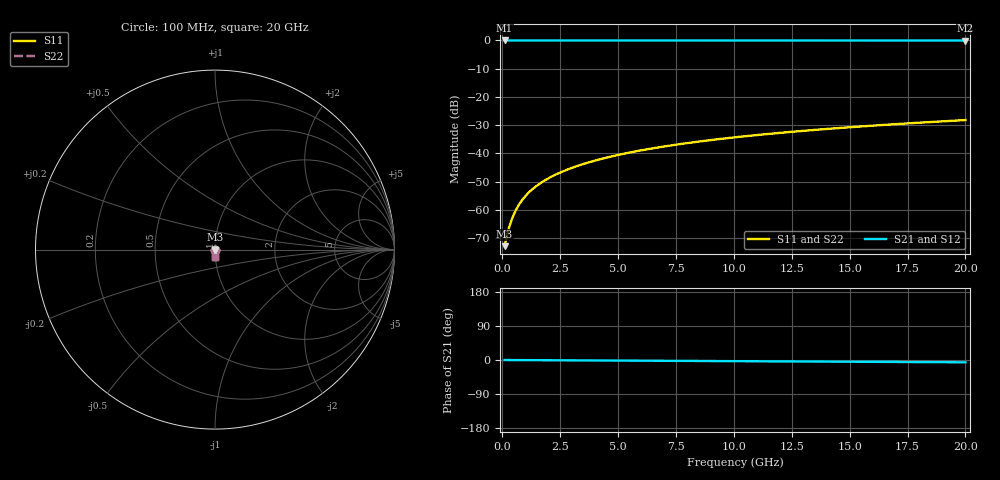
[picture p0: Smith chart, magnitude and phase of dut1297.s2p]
! Touchstone file exported from HFSS 2026.1.0
!  File:  C:/ffzhzh/LocalFiles/Ansys_Project_Files/temp_train_TSV_1297_1783194642_22436.aedt
!  Generated:  03:52:03 AM Jul  5, 2026
!  Design:  TSV
!  Project:  temp_train_TSV_1297_1783194642_22436
! Variables:
!  h_bsmrdl = 2um
!  h_ox = 20um
!  h_rdl = 5um
!  h_sub = 59.59um
!  h_tmrdl = 5um
!  h_tsv = 59.59um
!  h_via = 3um
!  l_bsmrdl = 300um
!  l_sub = 414.46um
!  l_tmrdl = 200um
!  m_sub = 200um
!  pitch = 20.92um
!  r_tsv = 7.23um
!  s_tmrdl = 10um
!  w_bsmrdl = 18um
!  w_sub = 500um
!  w_tmrdl = 12um
!  x_tsv_center1 = 206um
!  x_tsv_center2 = 524um
!  x_tsv_center3 = 736um
!  x_tsv_center4 = 1054um
!  x_tsv_center5 = 1266um
!  x_tsv_center6 = 1584um
# GHz S MA R 50.000000
! Terminal data exported
! Port[1] = TSV1_1_T1
! Port[2] = TSV1_1_T2
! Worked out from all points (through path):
!   200 points, 100 MHz to 20 GHz, reference 50 ohm
!   highest |S21| = 0.00 dB at 100 MHz (marker M1); lowest = 0.0 dB at 20 GHz (marker M2)
!   lowest |S11| = -72.8 dB at 100 MHz (marker M3), VSWR 1.00, Z = 50 - j0.0143 ohm
!   |S11| at or under -10 dB: start of sweep to end of sweep
!   |S22| runs from -72.8 to -28.2 dB; largest |S21 - S12| = 4.2e-15
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0.1  0.0002285 -38.6  0.9998 -0.0  0.9998 -0.0  0.0002285 -38.6
! Gamma 0 0 0 0
! Port Impedance 50 0 50 0
0.2  0.0003514 -55.9  0.9998 -0.1  0.9998 -0.1  0.0003514 -55.9
0.3  0.0005008 -63.7  0.9998 -0.1  0.9998 -0.1  0.0005008 -63.7
0.4  0.0006649 -67.9  0.9997 -0.1  0.9997 -0.1  0.0006649 -67.9
0.5  0.0008383 -70.7  0.9997 -0.2  0.9997 -0.2  0.0008383 -70.7
0.6  0.001018 -72.8  0.9997 -0.2  0.9997 -0.2  0.001018 -72.8
0.8  0.001387 -75.8  0.9997 -0.3  0.9997 -0.3  0.001387 -75.8
1.1  0.00195 -78.7  0.9996 -0.3  0.9996 -0.3  0.00195 -78.7
1.3  0.002327 -80.1  0.9996 -0.4  0.9996 -0.4  0.002327 -80.1
1.5  0.002704 -81.2  0.9996 -0.5  0.9996 -0.5  0.002704 -81.2
1.8  0.00327 -82.4  0.9995 -0.6  0.9995 -0.6  0.00327 -82.4
2.1  0.003838 -83.3  0.9995 -0.7  0.9995 -0.7  0.003838 -83.3
2.7  0.004976 -84.5  0.9994 -0.8  0.9994 -0.8  0.004976 -84.5
3.5  0.006504 -85.6  0.9994 -1.1  0.9994 -1.1  0.006504 -85.6
4.2  0.007852 -86.3  0.9993 -1.3  0.9993 -1.3  0.007852 -86.3
5  0.009403 -87.0  0.9992 -1.5  0.9992 -1.5  0.009403 -87.0
6.8  0.01292 -88.2  0.999 -2.1  0.999 -2.1  0.01292 -88.2
8.3  0.01587 -89.0  0.9989 -2.5  0.9989 -2.5  0.01587 -89.0
10.1  0.01942 -89.9  0.9987 -3.1  0.9987 -3.1  0.01942 -89.9
13.4  0.02593 -91.3  0.9984 -4.1  0.9984 -4.1  0.02593 -91.3
16.7  0.03246 -92.6  0.9981 -5.1  0.9981 -5.1  0.03246 -92.6
20  0.03899 -93.8  0.9977 -6.1  0.9977 -6.1  0.03899 -93.8
